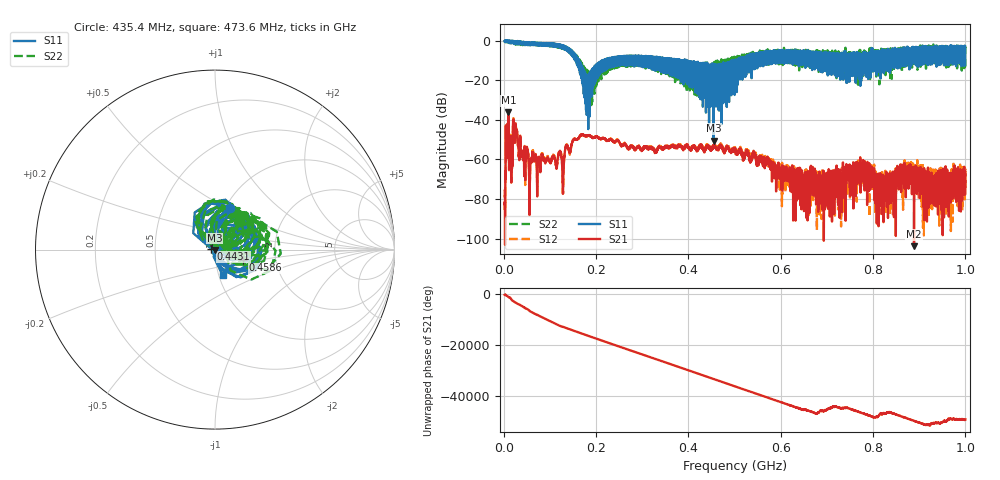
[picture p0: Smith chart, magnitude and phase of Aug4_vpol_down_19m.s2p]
!Keysight Technologies N9923A: A.12.45
!Date: Tuesday, 05 August 2025 20:42:46
!Timezone: (UTC+08:00) Kuala Lumpur, Singapore
!Model: N9923A
!Serial: MY61181427
!GPS Latitude:
!GPS Longitude:
!GPS TimeStamp: 0001-01-01 00:00:00Z
!GPS Seconds Since Last Read: 0
!CHECKSUM:1473322048
!Correction: S11(ON U)S21(ON U)S12(ON U)S22(ON U)
!S2P File: Measurements:S11,S21,S12,S22:
# Hz S DB R 50
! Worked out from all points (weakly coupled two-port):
!   4001 points, 2 MHz to 1 GHz, reference 50 ohm
!   highest |S21| = -36.19 dB at 10.23 MHz (marker M1); lowest = -103.9 dB at 888.7 MHz (marker M2)
!   lowest |S11| = -50.4 dB at 454.8 MHz (marker M3), VSWR 1.01, Z = 49.8 - j0.198 ohm
!   |S11| at or under -10 dB: 162.8 MHz to 212.3 MHz (49.47 MHz wide, 26.4 % of centre); 395.5 MHz to 494 MHz (98.48 MHz wide, 22.1 % of centre); 495.9 MHz to 500.7 MHz (4.834 MHz wide, 0.97 % of centre)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
!   |S22| runs from -35.6 to 0.1 dB; largest |S21 - S12| = 0.001
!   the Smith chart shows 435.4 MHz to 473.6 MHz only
!   S11 on the Smith chart (normalised r, x): 435.4 MHz: 1.05, +0.52; 443.1 MHz: 0.96, +0.01; 458.6 MHz: 1.36, -0.16; 473.6 MHz: 1.04, -0.31
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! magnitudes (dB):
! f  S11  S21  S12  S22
! 2 MHz  -0.1  -82.4  -85.6  -0.1
! 10.23 MHz  -0.1  -36.2  -35.9  -0.4
! 15.72 MHz  -1.4  -57.3  -56.2  -1.1
! 24.95 MHz  -0.3  -46.2  -46.0  -0.3
! 56.64 MHz  -1.4  -71.9  -71.2  -1.7
! 127.2 MHz  -2.7  -67.8  -66.2  -3.0
! 168.4 MHz  -19.1  -47.6  -47.6  -16.2
! 181.6 MHz  -30.5  -47.9  -47.9  -25.5
! 229 MHz  -8.6  -50.3  -49.9  -9.7
! 334.8 MHz  -8.5  -53.9  -53.5  -10.3
! 435.4 MHz  -12.2  -54.7  -54.5  -13.7
! 443.1 MHz  -33.5  -53.4  -53.0  -19.7
! 454.8 MHz  -50.4  -52.9  -52.8  -18.5
! 458.6 MHz  -15.5  -53.4  -53.7  -17.6
! 473.6 MHz  -16.5  -54.3  -53.9  -22.9
! 501 MHz  -10.0  -55.2  -53.8  -9.1
! 667.4 MHz  -5.9  -71.0  -65.1  -6.9
! 778.2 MHz  -7.0  -66.9  -64.5  -17.7
! 833.8 MHz  -6.2  -68.0  -76.3  -13.9
! 888.7 MHz  -11.4  -103.9  -68.1  -3.9
! 932.6 MHz  -11.0  -74.5  -73.6  -4.0
! 1 GHz  -12.3  -66.3  -66.9  -4.0
